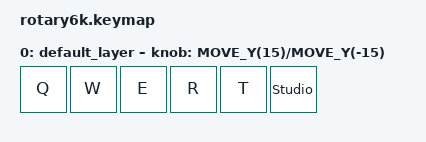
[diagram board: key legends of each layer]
#include <behaviors.dtsi>
#include <dt-bindings/zmk/keys.h>
#include <dt-bindings/zmk/mouse.h> // Enables the mouse coordinate macros

/ {
    keymap {
        compatible = "zmk,keymap";

        default_layer {
            // Mapping for the 6 direct inputs
            bindings = <
                &kp Q  &kp W  &kp E  &kp R  &kp T  &studio_unlock
            >;

            // Encoder rotation emulates mouse vertical wheel scroll using relative positioning
            // Positive value (15) scrolls down, Negative value (-15) scrolls up
            sensor-bindings = <&inc_dec_kp MOVE_Y(15) MOVE_Y(-15)>;
        };
    };
};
